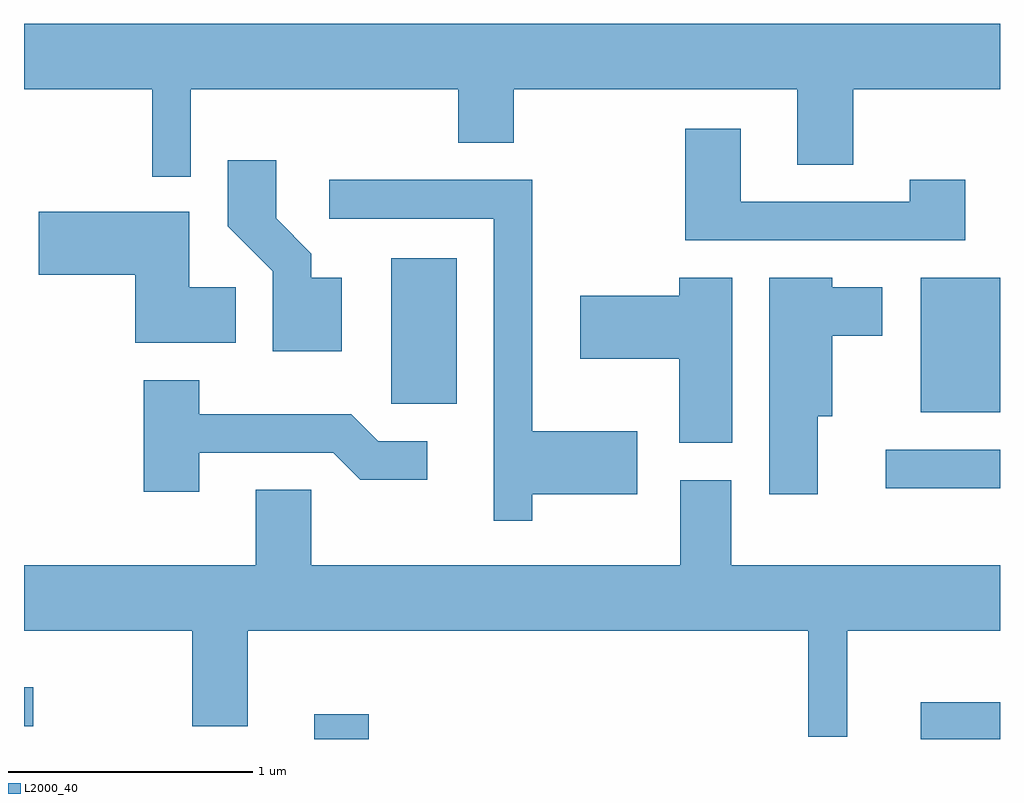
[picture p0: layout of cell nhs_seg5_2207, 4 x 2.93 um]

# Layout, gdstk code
import gdstk
lib = gdstk.Library(unit=1e-6, precision=1e-09)
def R(c, l, rs):  # rectangles x0, y0, x1, y1
    for r in rs: c.add(gdstk.rectangle(r[:2], r[2:], *l))
def P(c, l, *ps):  # polygons
    for p in ps: c.add(gdstk.Polygon(p, *l))
L2000_40 = (2000, 40)

nhs_seg5_2207 = lib.new_cell('nhs_seg5_2207')
R(nhs_seg5_2207, L2000_40, [(250.801,1514.072,251.024,1514.174), (253.286,1514.072,253.611,1514.224), (249.611,1514.126,249.648,1514.284), (253.143,1515.101,253.611,1515.259), (253.286,1515.411,253.611,1515.964), (251.116,1515.446,251.384,1516.044)])
P(nhs_seg5_2207, L2000_40, [(250.294,1516.736),(251.391,1516.736),(251.391,1516.516),(251.619,1516.516),(251.619,1516.736),(252.781,1516.736),(252.781,1516.426),(253.009,1516.426),(253.009,1516.736),(253.611,1516.736),(253.611,1517.004),(249.611,1517.004),(249.611,1516.736),(250.136,1516.736),(250.136,1516.378),(250.294,1516.378)],
  [(253.469,1516.364),(253.241,1516.364),(253.241,1516.274),(252.549,1516.274),(252.549,1516.574),(252.321,1516.574),(252.321,1516.116),(253.469,1516.116)],
  [(250.914,1515.964),(250.789,1515.964),(250.789,1516.062),(250.644,1516.207),(250.644,1516.444),(250.446,1516.444),(250.446,1516.174),(250.631,1515.989),(250.631,1515.661),(250.914,1515.661)],
  [(251.694,1515.076),(252.124,1515.076),(252.124,1515.334),(251.694,1515.334),(251.694,1516.364),(250.863,1516.364),(250.863,1516.206),(251.536,1516.206),(251.536,1514.968),(251.694,1514.968)],
  [(250.479,1515.924),(250.289,1515.924),(250.289,1516.234),(249.671,1516.234),(249.671,1515.976),(250.066,1515.976),(250.066,1515.696),(250.479,1515.696)],
  [(252.514,1515.964),(252.296,1515.964),(252.296,1515.889),(251.891,1515.889),(251.891,1515.631),(252.296,1515.631),(252.296,1515.286),(252.514,1515.286)],
  [(252.864,1515.396),(252.924,1515.396),(252.924,1515.726),(253.129,1515.726),(253.129,1515.924),(252.924,1515.924),(252.924,1515.964),(252.666,1515.964),(252.666,1515.076),(252.864,1515.076)],
  [(250.329,1515.246),(250.879,1515.246),(250.989,1515.136),(251.263,1515.136),(251.263,1515.294),(251.062,1515.294),(250.952,1515.404),(250.329,1515.404),(250.329,1515.544),(250.101,1515.544),(250.101,1515.086),(250.329,1515.086)],
  [(252.984,1514.516),(253.611,1514.516),(253.611,1514.784),(252.509,1514.784),(252.509,1515.134),(252.301,1515.134),(252.301,1514.784),(250.789,1514.784),(250.789,1515.094),(250.561,1515.094),(250.561,1514.784),(249.611,1514.784),(249.611,1514.516),(250.301,1514.516),(250.301,1514.126),(250.529,1514.126),(250.529,1514.516),(252.826,1514.516),(252.826,1514.083),(252.984,1514.083)])

lib.write_gds('nhs_seg5_2207.gds')
